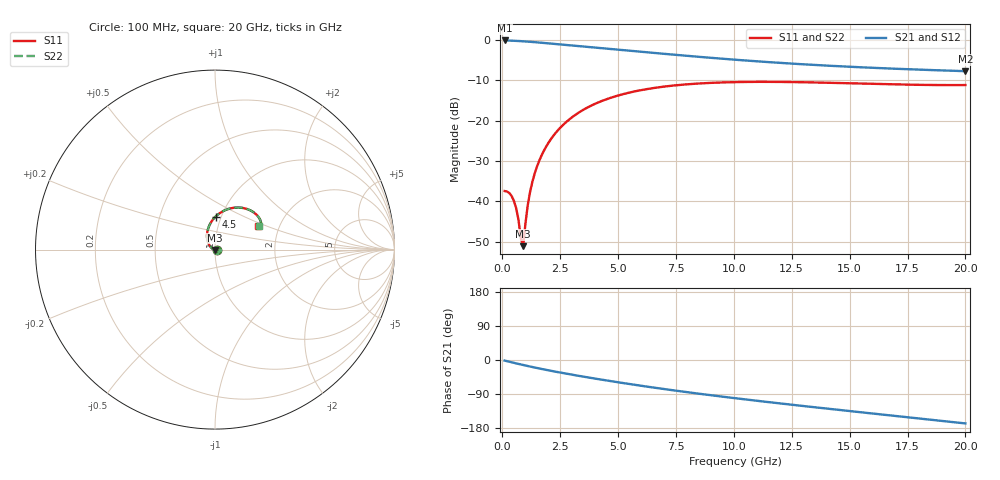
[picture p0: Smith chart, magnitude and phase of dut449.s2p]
! Touchstone file exported from HFSS 2024.1.0
!  File:  C:/UserFiles/LocalFiles/RDL_TSV_Batchsim/temp_RDL_TSV_449_1779724551.aedt
!  Generated:  12:11:56 AM May 26, 2026
!  Design:  RDL_TSV
!  Project:  temp_RDL_TSV_449_1779724551
!  Setup:  Setup1
!  Solution:  Sweep
! Variables:
!  dtsv = 9.94um
!  hbump = 3um
!  htsv = 62.8um
!  ldown = 131.34um
!  lrdl = 509.79um
!  p = 40
!  p1 = 52.81um
!  rhole = 10um
!  subl = 2433.18um
!  t = 450um
!  tdown = 3.92um
!  trdl = 2.32um
!  viad = 10um
!  wdown = 25.76um
!  wrdl = 27.85um
!  xbump = 18um
# GHz S MA R 50.000000
! Terminal data exported
! Port[1] = TM1_1_T1
! Port[2] = TM1_4_T1
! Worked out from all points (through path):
!   200 points, 100 MHz to 20 GHz, reference 50 ohm
!   highest |S21| = -0.12 dB at 100 MHz (marker M1); lowest = -7.7 dB at 20 GHz (marker M2)
!   group delay of S21, straight-line fit = 22 ps
!   lowest |S11| = -51.1 dB at 900 MHz (marker M3), VSWR 1.01, Z = 49.8 - j0.221 ohm
!   |S11| at or under -10 dB: start of sweep to end of sweep
!   |S22| runs from -51.1 to -10.4 dB; largest |S21 - S12| = 1.6e-14
!   S11 on the Smith chart (normalised r, x): 100 MHz: 1.03, -0.00; 4.5 GHz: 0.94, +0.36; 20 GHz: 1.56, +0.45
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0.1  0.01341 -1.4  0.9861 -1.5  0.9861 -1.5  0.01341 -1.4
! Gamma 0 0 0 0
! Port Impedance 50 0 50 0
0.3  0.01269 -7.2  0.9827 -4.6  0.9827 -4.6  0.01269 -7.2
0.5  0.01017 -17.3  0.9774 -7.5  0.9774 -7.5  0.01017 -17.4
0.6  0.008205 -24.7  0.9743 -9.0  0.9743 -9.0  0.008205 -24.8
0.7  0.005878 -36.2  0.9708 -10.4  0.9708 -10.4  0.005879 -36.2
0.8  0.003502 -61.5  0.967 -11.8  0.967 -11.8  0.003505 -61.6
0.9  0.002781 -127.2  0.963 -13.2  0.963 -13.2  0.002787 -127.2
1  0.005306 -170.7  0.9587 -14.6  0.9587 -14.6  0.005311 -170.7
1.1  0.00897 173.6  0.9541 -15.9  0.9541 -15.9  0.008975 173.6
1.2  0.01308 165.1  0.9494 -17.3  0.9494 -17.3  0.01309 165.1
1.4  0.02216 154.5  0.9394 -19.9  0.9394 -19.9  0.02217 154.5
1.7  0.03726 143.6  0.9236 -23.7  0.9236 -23.7  0.03726 143.6
2  0.05347 134.9  0.9073 -27.3  0.9073 -27.3  0.05348 134.9
2.4  0.07591 125.1  0.8857 -32.0  0.8857 -32.0  0.07592 125.1
2.9  0.104 114.5  0.8592 -37.5  0.8592 -37.5  0.104 114.5
3.5  0.1364 103.7  0.8287 -43.9  0.8287 -43.9  0.1364 103.8
4.5  0.1843 88.9  0.7806 -54.0  0.7806 -54.0  0.1843 88.9
6.8  0.2601 64.1  0.6808 -75.0  0.6808 -75.0  0.2602 64.1
10.1  0.3006 42.3  0.5677 -101.1  0.5677 -101.1  0.3007 42.3
13.4  0.2978 30.8  0.4918 -124.1  0.4918 -124.1  0.298 30.8
16.7  0.2823 26.9  0.443 -145.9  0.443 -145.9  0.2826 26.9
20  0.2762 28.7  0.4105 -167.4  0.4105 -167.4  0.2765 28.6
